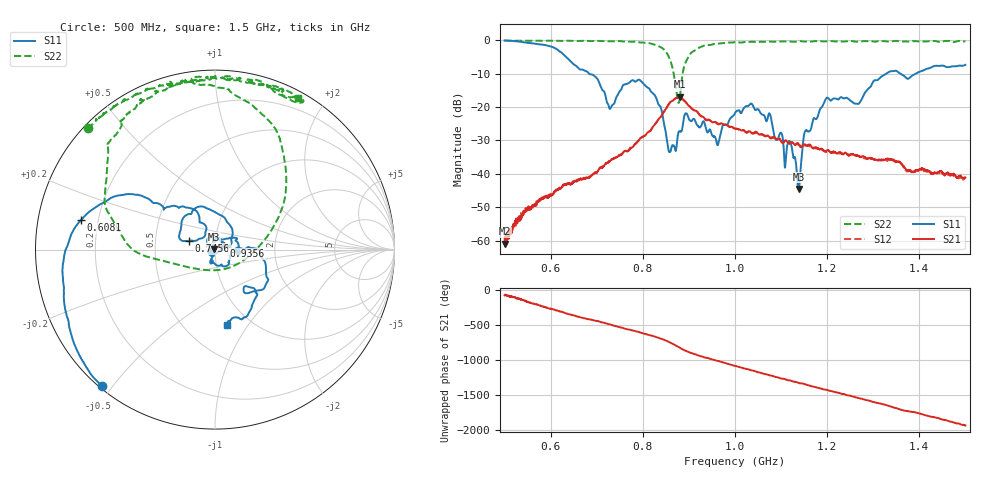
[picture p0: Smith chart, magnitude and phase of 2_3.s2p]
!Agilent Technologies,E8364B,US42250235,A.06.04.32
!Agilent E8364B: A.06.04.32
!Date: Friday, January 15, 2021 16:13:20
!Correction: S11(Full 2 Port(1,2)) S21(Full 2 Port(1,2)) S12(Full 2 Port(1,2)) S22(Full 2 Port(1,2))
!S2P File: Measurements: S11, S21, S12, S22:
# Hz S  dB  R 50
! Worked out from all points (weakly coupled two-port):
!   1601 points, 500 MHz to 1.5 GHz, reference 50 ohm
!   highest |S21| = -16.91 dB at 880.6 MHz (marker M1); lowest = -60.9 dB at 500 MHz (marker M2)
!   lowest |S11| = -44.5 dB at 1.139 GHz (marker M3), VSWR 1.01, Z = 49.4 + j0.164 ohm
!   |S11| at or under -10 dB: 683 MHz to 1.329 GHz (645.6 MHz wide, 64.2 % of centre); 1.358 GHz to 1.393 GHz (34.46 MHz wide, 2.5 % of centre)
!   |S22| runs from -18.8 to -0.2 dB; largest |S21 - S12| = 0.0049
!   S11 on the Smith chart (normalised r, x): 500 MHz: 0.01, -0.47; 608.1 MHz: 0.13, +0.11; 745.6 MHz: 0.74, +0.07; 935.6 MHz: 1.10, +0.05; 1.5 GHz: 0.78, -0.80
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5e8  -0.11 -129.6  -60.89 -72.2  -59.52 -70.4  -0.18 136.2
6.08125e8  -2.33 167.7  -45.28 82.5  -45.15 81.5  -0.21 124.7
6.66875e8  -8.79 141.8  -41.67 -32.9  -41.54 -33.4  -0.24 116.6
7.275e8  -20.42 126.8  -36.26 -128.6  -36.22 -130.2  -0.32 108.8
7.45625e8  -16.34 161.5  -34.83 -160.9  -34.94 -163.1  -0.29 104.8
7.91875e8  -11.84 110.9  -29.88 120.3  -29.75 118.3  -0.66 96.1
8.3375e8  -19.16 34.1  -23.71 39.2  -23.73 37.6  -1.79 73.1
8.575e8  -33.47 -40.4  -18.84 -23.4  -18.96 -25.2  -5.31 42.8
8.80625e8  -27.22 133.2  -16.91 -105.5  -17.00 -106.8  -16.79 -131.8
8.96875e8  -22.43 92.6  -19.21 -159.8  -19.09 -160.6  -5.54 171.1
9.35625e8  -25.66 23.4  -23.75 115.1  -23.62 114.6  -1.56 135.8
9.625e8  -31.44 42.6  -25.11 66.7  -24.88 65.2  -1.04 126.1
1e9  -21.86 12.2  -26.48 -3.8  -26.43 -4.8  -0.61 115.7
1.075625e9  -22.10 -109.6  -29.22 -141.6  -28.93 -142.1  -0.42 105.1
1.10875e9  -38.16 -138.3  -29.99 165.4  -30.24 162.1  -0.38 100.9
1.12e9  -30.48 -158.3  -30.73 145.7  -30.82 142.3  -0.48 100.3
1.13875e9  -44.53 163.8  -31.26 109.6  -31.30 108.9  -0.29 95.1
1.15125e9  -27.54 99.4  -31.15 92.5  -31.56 90.0  -0.43 96.9
1.166875e9  -25.33 87.8  -31.99 60.3  -32.07 61.1  -0.45 91.6
1.199375e9  -17.24 27.2  -32.99 11.4  -33.42 7.9  -0.38 90.4
1.33375e9  -9.54 -28.4  -35.56 141.3  -35.89 143.0  -0.45 77.1
1.5e9  -7.41 -81.3  -41.08 -138.8  -41.64 -139.1  -0.33 61.3
